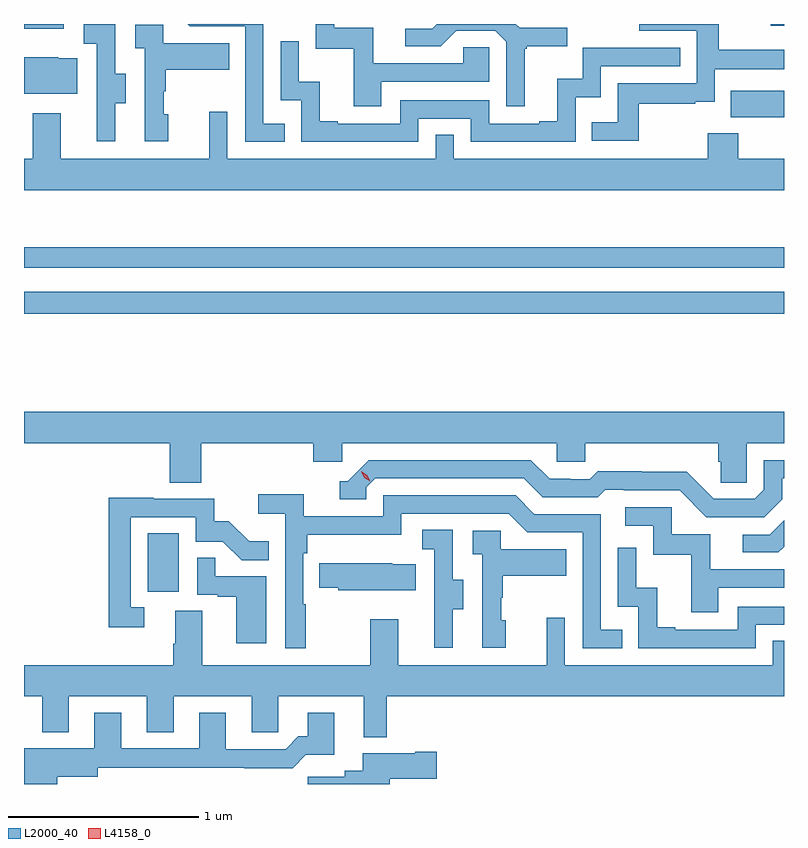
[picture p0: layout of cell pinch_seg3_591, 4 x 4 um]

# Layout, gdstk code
import gdstk
lib = gdstk.Library(unit=1e-6, precision=1e-09)
def R(c, l, rs):  # rectangles x0, y0, x1, y1
    for r in rs: c.add(gdstk.rectangle(r[:2], r[2:], *l))
def P(c, l, *ps):  # polygons
    for p in ps: c.add(gdstk.Polygon(p, *l))
L2000_40 = (2000, 40)
L4158_0 = (4158, 0)

pinch_seg3_591 = lib.new_cell('pinch_seg3_591')
R(pinch_seg3_591, L2000_40, [(1023.572,697.47,1023.736,697.777), (1022.922,698.932,1026.922,699.048), (1022.922,699.174,1026.922,699.283), (1022.922,700.433,1023.132,700.458), (1026.852,700.448,1026.922,700.458)])
P(pinch_seg3_591, L2000_40, [(1024.801,700.155),(1025.37,700.155),(1025.37,700.335),(1025.233,700.335),(1025.233,700.251),(1024.759,700.251),(1024.759,700.437),(1024.554,700.437),(1024.554,700.458),(1024.458,700.458),(1024.458,700.329),(1024.657,700.329),(1024.657,700.026),(1024.801,700.026)],
  [(1026.157,700.038),(1026.455,700.038),(1026.455,700.049),(1026.558,700.049),(1026.558,700.221),(1026.922,700.221),(1026.922,700.322),(1026.578,700.322),(1026.578,700.458),(1026.161,700.458),(1026.161,700.422),(1026.462,700.422),(1026.462,700.146),(1026.046,700.146),(1026.046,699.94),(1025.911,699.94),(1025.911,699.843),(1026.157,699.843)],
  [(1025.557,700.329),(1025.569,700.329),(1025.569,700.34),(1025.782,700.34),(1025.782,700.437),(1025.532,700.437),(1025.511,700.458),(1025.094,700.458),(1025.07,700.434),(1024.929,700.434),(1024.929,700.341),(1025.116,700.341),(1025.197,700.422),(1025.403,700.422),(1025.46,700.365),(1025.46,700.026),(1025.557,700.026)],
  [(1023.403,700.042),(1023.457,700.042),(1023.457,700.197),(1023.402,700.197),(1023.402,700.458),(1023.237,700.458),(1023.237,700.353),(1023.306,700.353),(1023.306,700.053),(1023.305,700.053),(1023.305,699.84),(1023.403,699.84)],
  [(1024.295,699.933),(1024.182,699.933),(1024.182,700.458),(1023.783,700.458),(1023.795,700.446),(1024.086,700.446),(1024.086,699.837),(1024.295,699.837)],
  [(1023.682,699.984),(1023.657,699.984),(1023.657,700.103),(1023.667,700.103),(1023.667,700.217),(1024.001,700.217),(1024.001,700.357),(1023.654,700.357),(1023.654,700.455),(1023.507,700.455),(1023.507,700.331),(1023.558,700.331),(1023.558,699.84),(1023.682,699.84)],
  [(1024.998,699.96),(1025.274,699.96),(1025.274,699.837),(1025.826,699.837),(1025.826,700.073),(1025.958,700.073),(1025.958,700.236),(1026.377,700.236),(1026.377,700.332),(1025.862,700.332),(1025.862,700.171),(1025.729,700.171),(1025.729,699.946),(1025.633,699.946),(1025.633,699.933),(1025.37,699.933),(1025.37,700.056),(1024.902,700.056),(1024.902,699.933),(1024.573,699.933),(1024.573,699.946),(1024.478,699.946),(1024.478,700.154),(1024.368,700.154),(1024.368,700.366),(1024.272,700.366),(1024.272,700.056),(1024.38,700.056),(1024.38,699.837),(1024.998,699.837)],
  [(1023.203,700.279),(1023.101,700.279),(1023.101,700.282),(1022.922,700.282),(1022.922,700.091),(1023.203,700.091)],
  [(1026.922,700.107),(1026.857,700.107),(1026.857,700.108),(1026.643,700.108),(1026.643,699.968),(1026.922,699.968)],
  [(1026.922,699.748),(1026.68,699.748),(1026.68,699.883),(1026.52,699.883),(1026.52,699.748),(1025.184,699.748),(1025.184,699.875),(1025.088,699.875),(1025.088,699.748),(1023.993,699.748),(1023.993,699.997),(1023.896,699.997),(1023.896,699.748),(1023.115,699.748),(1023.115,699.988),(1022.968,699.988),(1022.968,699.748),(1022.922,699.748),(1022.922,699.584),(1026.922,699.584)],
  [(1023.854,698.252),(1024.445,698.252),(1024.445,698.154),(1024.596,698.154),(1024.596,698.252),(1025.727,698.252),(1025.727,698.154),(1025.877,698.154),(1025.877,698.252),(1026.575,698.252),(1026.575,698.154),(1026.589,698.154),(1026.589,698.044),(1026.726,698.044),(1026.726,698.252),(1026.922,698.252),(1026.922,698.416),(1022.922,698.416),(1022.922,698.252),(1023.689,698.252),(1023.689,698.044),(1023.854,698.044)],
  [(1026.913,697.957),(1026.913,698.067),(1026.922,698.067),(1026.922,698.163),(1026.816,698.163),(1026.816,698.007),(1026.768,697.959),(1026.552,697.959),(1026.41,698.101),(1026.174,698.101),(1026.174,698.104),(1025.941,698.104),(1025.899,698.061),(1025.796,698.061),(1025.796,698.064),(1025.689,698.064),(1025.59,698.163),(1024.737,698.163),(1024.626,698.052),(1024.583,698.052),(1024.583,697.956),(1024.722,697.956),(1024.722,698.019),(1024.77,698.067),(1025.553,698.067),(1025.652,697.968),(1025.941,697.968),(1025.98,698.007),(1026.079,698.007),(1026.079,698.004),(1026.372,698.004),(1026.513,697.863),(1026.819,697.863)],
  [(1024.405,697.403),(1024.392,697.403),(1024.392,697.673),(1024.412,697.673),(1024.412,697.769),(1024.908,697.769),(1024.908,697.881),(1025.472,697.881),(1025.571,697.782),(1025.862,697.782),(1025.862,697.173),(1026.071,697.173),(1026.071,697.269),(1025.958,697.269),(1025.958,697.878),(1025.608,697.878),(1025.509,697.977),(1024.812,697.977),(1024.812,697.866),(1024.394,697.866),(1024.394,697.982),(1024.155,697.982),(1024.155,697.88),(1024.296,697.88),(1024.296,697.173),(1024.405,697.173)],
  [(1023.556,697.389),(1023.483,697.389),(1023.483,697.863),(1023.825,697.863),(1023.825,697.734),(1023.969,697.734),(1024.067,697.636),(1024.211,697.636),(1024.211,697.735),(1024.107,697.735),(1024,697.842),(1023.924,697.842),(1023.924,697.959),(1023.605,697.959),(1023.605,697.964),(1023.367,697.964),(1023.367,697.284),(1023.556,697.284)],
  [(1026.577,697.491),(1026.922,697.491),(1026.922,697.587),(1026.535,697.587),(1026.535,697.773),(1026.33,697.773),(1026.33,697.914),(1026.087,697.914),(1026.087,697.818),(1026.234,697.818),(1026.234,697.665),(1026.433,697.665),(1026.433,697.362),(1026.577,697.362)],
  [(1026.922,697.707),(1026.922,697.846),(1026.846,697.77),(1026.705,697.77),(1026.705,697.677),(1026.892,697.677)],
  [(1025.179,697.378),(1025.233,697.378),(1025.233,697.533),(1025.178,697.533),(1025.178,697.796),(1025.019,697.796),(1025.019,697.693),(1025.082,697.693),(1025.082,697.389),(1025.081,697.389),(1025.081,697.176),(1025.179,697.176)],
  [(1025.458,697.32),(1025.433,697.32),(1025.433,697.439),(1025.443,697.439),(1025.443,697.553),(1025.777,697.553),(1025.777,697.693),(1025.43,697.693),(1025.43,697.791),(1025.283,697.791),(1025.283,697.667),(1025.334,697.667),(1025.334,697.176),(1025.458,697.176)],
  [(1026.774,697.296),(1026.922,697.296),(1026.922,697.392),(1026.678,697.392),(1026.678,697.269),(1026.349,697.269),(1026.349,697.282),(1026.254,697.282),(1026.254,697.49),(1026.144,697.49),(1026.144,697.702),(1026.048,697.702),(1026.048,697.392),(1026.156,697.392),(1026.156,697.173),(1026.774,697.173)],
  [(1024.198,697.551),(1023.929,697.551),(1023.929,697.649),(1023.834,697.649),(1023.834,697.455),(1023.941,697.455),(1023.941,697.443),(1024.04,697.443),(1024.04,697.2),(1024.198,697.2)],
  [(1024.985,697.615),(1024.86,697.615),(1024.86,697.621),(1024.477,697.621),(1024.477,697.492),(1024.575,697.492),(1024.575,697.478),(1024.985,697.478)],
  [(1023.719,697.37),(1023.719,697.196),(1023.707,697.196),(1023.707,697.084),(1022.922,697.084),(1022.922,696.92),(1023.017,696.92),(1023.017,696.731),(1023.157,696.731),(1023.157,696.92),(1023.569,696.92),(1023.569,696.73),(1023.709,696.73),(1023.709,696.92),(1024.121,696.92),(1024.121,696.73),(1024.26,696.73),(1024.26,696.92),(1024.709,696.92),(1024.709,696.704),(1024.831,696.704),(1024.831,696.92),(1026.922,696.92),(1026.922,697.211),(1026.864,697.211),(1026.864,697.084),(1025.769,697.084),(1025.769,697.333),(1025.672,697.333),(1025.672,697.084),(1024.891,697.084),(1024.891,697.324),(1024.744,697.324),(1024.744,697.084),(1023.859,697.084),(1023.859,697.37)],
  [(1023.097,696.497),(1023.31,696.497),(1023.31,696.544),(1024.081,696.544),(1024.081,696.542),(1024.337,696.542),(1024.406,696.611),(1024.555,696.611),(1024.555,696.832),(1024.415,696.832),(1024.415,696.709),(1024.366,696.709),(1024.299,696.642),(1023.985,696.642),(1023.985,696.832),(1023.845,696.832),(1023.845,696.645),(1023.433,696.645),(1023.433,696.832),(1023.293,696.832),(1023.293,696.646),(1022.922,696.646),(1022.922,696.458),(1023.097,696.458)],
  [(1024.846,696.485),(1025.095,696.485),(1025.095,696.627),(1024.982,696.627),(1024.982,696.619),(1024.706,696.619),(1024.706,696.529),(1024.61,696.529),(1024.61,696.497),(1024.416,696.497),(1024.416,696.458),(1024.846,696.458)])
P(pinch_seg3_591, L4158_0, [(1024.744,698.052),(1024.714,698.071),(1024.697,698.103),(1024.697,698.104),(1024.697,698.104),(1024.728,698.084),(1024.745,698.052),(1024.745,698.052)])

lib.write_gds('pinch_seg3_591.gds')
